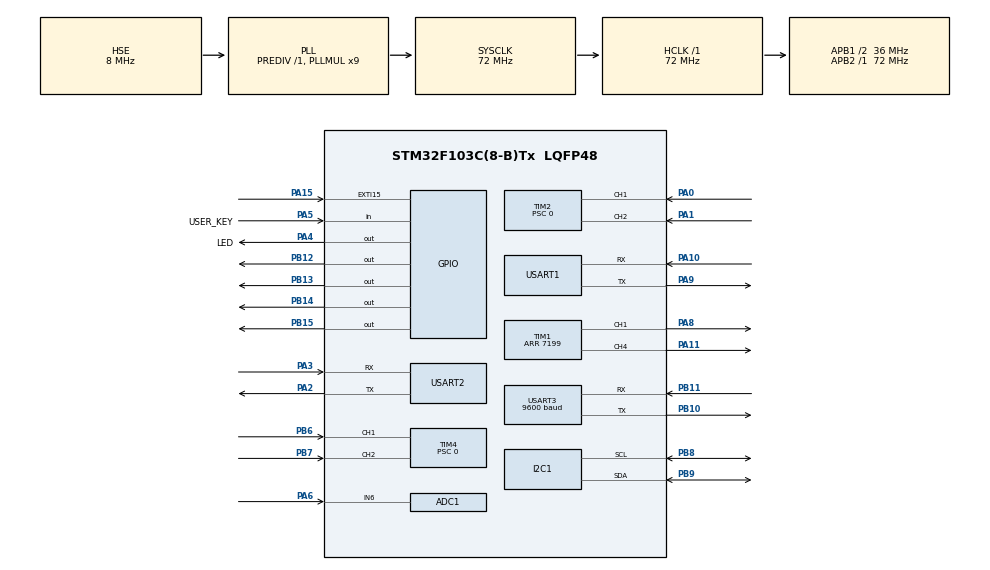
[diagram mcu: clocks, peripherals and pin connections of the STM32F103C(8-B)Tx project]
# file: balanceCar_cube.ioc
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ADC1.Channel-0\#ChannelRegularConversion=ADC_CHANNEL_6
ADC1.NbrOfConversionFlag=1
ADC1.Rank-0\#ChannelRegularConversion=1
ADC1.SamplingTime-0\#ChannelRegularConversion=ADC_SAMPLETIME_1CYCLE_5
ADC1.master=1
Dma.Request0=USART1_RX
Dma.Request1=USART1_TX
Dma.USART1_RX.0.Direction=DMA_PERIPH_TO_MEMORY
Dma.USART1_RX.0.Instance=DMA1_Channel5
Dma.USART1_RX.0.MemDataAlignment=DMA_MDATAALIGN_BYTE
Dma.USART1_RX.0.MemInc=DMA_MINC_ENABLE
Dma.USART1_RX.0.Mode=DMA_NORMAL
Dma.USART1_RX.0.PeriphDataAlignment=DMA_PDATAALIGN_BYTE
Dma.USART1_RX.0.PeriphInc=DMA_PINC_DISABLE
Dma.USART1_RX.0.Priority=DMA_PRIORITY_LOW
Dma.USART1_TX.1.Direction=DMA_MEMORY_TO_PERIPH
Dma.USART1_TX.1.Instance=DMA1_Channel4
Dma.USART1_TX.1.MemDataAlignment=DMA_MDATAALIGN_BYTE
Dma.USART1_TX.1.MemInc=DMA_MINC_ENABLE
Dma.USART1_TX.1.Mode=DMA_NORMAL
Dma.USART1_TX.1.PeriphDataAlignment=DMA_PDATAALIGN_BYTE
Dma.USART1_TX.1.PeriphInc=DMA_PINC_DISABLE
Dma.USART1_TX.1.Priority=DMA_PRIORITY_LOW
FREERTOS.Tasks01=defaultTask,0,128,StartDefaultTask,Default,NULL,Dynamic,NULL,NULL;nonblock,0,128,StartTask_nonblock,Default,NULL,Dynamic,NULL,NULL
Mcu.Family=STM32F1
Mcu.Name=STM32F103C(8-B)Tx
Mcu.Package=LQFP48
NVIC.DMA1_Channel4_IRQn=true\:5\:0\:false\:false\:true\:true\:false\:true
NVIC.DMA1_Channel5_IRQn=true\:5\:0\:false\:false\:true\:true\:false\:true
NVIC.PriorityGroup=NVIC_PRIORITYGROUP_4
NVIC.TIM1_UP_IRQn=true\:5\:0\:false\:false\:true\:true\:true\:true
NVIC.TIM3_IRQn=true\:0\:0\:false\:false\:true\:false\:false\:true
NVIC.TimeBase=TIM3_IRQn
NVIC.TimeBaseIP=TIM3
NVIC.USART1_IRQn=true\:5\:0\:false\:false\:true\:true\:true\:true
PA0-WKUP.Signal=S_TIM2_CH1_ETR
PA1.Signal=S_TIM2_CH2
PA10.Mode=Asynchronous
PA10.Signal=USART1_RX
PA11.Signal=S_TIM1_CH4
PA13.Mode=Serial_Wire
PA13.Signal=SYS_JTMS-SWDIO
PA14.Mode=Serial_Wire
PA14.Signal=SYS_JTCK-SWCLK
PA15.Signal=GPXTI15
PA2.Mode=Asynchronous
PA2.Signal=USART2_TX
PA3.Mode=Asynchronous
PA3.Signal=USART2_RX
PA4.GPIO_Label=LED
PA4.GPIO_PuPd=GPIO_PULLUP
PA4.PinState=GPIO_PIN_SET
PA4.Signal=GPIO_Output
PA5.GPIO_Label=USER_KEY
PA5.GPIO_PuPd=GPIO_PULLUP
PA5.Signal=GPIO_Input
PA6.Signal=ADCx_IN6
PA8.Signal=S_TIM1_CH1
PA9.Mode=Asynchronous
PA9.Signal=USART1_TX
PB10.Mode=Asynchronous
PB10.Signal=USART3_TX
PB11.Mode=Asynchronous
PB11.Signal=USART3_RX
PB12.Signal=GPIO_Output
PB13.Signal=GPIO_Output
PB14.Signal=GPIO_Output
PB15.Signal=GPIO_Output
PB6.Signal=S_TIM4_CH1
PB7.Signal=S_TIM4_CH2
PB8.GPIO_Pu=GPIO_PULLUP
PB8.Mode=I2C
PB8.Signal=I2C1_SCL
PB9.GPIO_Pu=GPIO_PULLUP
PB9.Mode=I2C
PB9.Signal=I2C1_SDA
PD0-OSC_IN.Mode=HSE-External-Oscillator
PD0-OSC_IN.Signal=RCC_OSC_IN
PD1-OSC_OUT.Mode=HSE-External-Oscillator
PD1-OSC_OUT.Signal=RCC_OSC_OUT
ProjectManager.HeapSize=0x200
ProjectManager.StackSize=0x400
ProjectManager.TargetToolchain=MDK-ARM V5.27
RCC.ADCPresc=RCC_ADCPCLK2_DIV6
RCC.AHBFreq_Value=72000000
RCC.APB1CLKDivider=RCC_HCLK_DIV2
RCC.APB1Freq_Value=36000000
RCC.APB1TimFreq_Value=72000000
RCC.APB2Freq_Value=72000000
RCC.APB2TimFreq_Value=72000000
RCC.HCLKFreq_Value=72000000
RCC.PLLMUL=RCC_PLL_MUL9
RCC.PLLSourceVirtual=RCC_PLLSOURCE_HSE
RCC.SYSCLKFreq_VALUE=72000000
RCC.SYSCLKSource=RCC_SYSCLKSOURCE_PLLCLK
RCC.USBFreq_Value=72000000
SH.ADCx_IN6.0=ADC1_IN6,IN6
SH.S_TIM1_CH1.0=TIM1_CH1,PWM Generation1 CH1
SH.S_TIM1_CH4.0=TIM1_CH4,PWM Generation4 CH4
SH.S_TIM2_CH1_ETR.0=TIM2_CH1,Encoder_Interface
SH.S_TIM2_CH2.0=TIM2_CH2,Encoder_Interface
SH.S_TIM4_CH1.0=TIM4_CH1,Encoder_Interface
SH.S_TIM4_CH2.0=TIM4_CH2,Encoder_Interface
TIM1.AutoReloadPreload=TIM_AUTORELOAD_PRELOAD_ENABLE
TIM1.Channel-PWM\ Generation1\ CH1=TIM_CHANNEL_1
TIM1.Channel-PWM\ Generation4\ CH4=TIM_CHANNEL_4
TIM1.Period=7199
TIM2.EncoderMode=TIM_ENCODERMODE_TI12
TIM2.Prescaler=0
TIM4.AutoReloadPreload=TIM_AUTORELOAD_PRELOAD_DISABLE
TIM4.CounterMode=TIM_COUNTERMODE_UP
TIM4.EncoderMode=TIM_ENCODERMODE_TI12
TIM4.IC1Filter=15
TIM4.IC2Filter=15
TIM4.Prescaler=0
USART1.VirtualMode=VM_ASYNC
USART2.VirtualMode=VM_ASYNC
USART3.BaudRate=9600
USART3.VirtualMode=VM_ASYNC
VP_FREERTOS_VS_CMSIS_V1.Mode=CMSIS_V1
VP_SYS_VS_tim3.Mode=TIM3
VP_TIM1_VS_ClockSourceINT.Mode=Internal
board=custom

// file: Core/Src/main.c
/* USER CODE BEGIN Header */
/**
  ******************************************************************************
  * @file           : main.c
  * @brief          : Main program body
  ******************************************************************************
  * @attention
  *
  * <h2><center>&copy; Copyright (c) 2021 STMicroelectronics.
  * All rights reserved.</center></h2>
  *
  * This software component is licensed by ST under BSD 3-Clause license,
  * the "License"; You may not use this file except in compliance with the
  * License. You may obtain a copy of the License at:
  *                        opensource.org/licenses/BSD-3-Clause
  *
  ******************************************************************************
  */
/* USER CODE END Header */
#include "main.h"
#include "cmsis_os.h"
#include "adc.h"
#include "dma.h"
#include "i2c.h"
#include "tim.h"
#include "usart.h"
#include "gpio.h"

/* USER CODE BEGIN Includes */
#include "libmotor.h"
#include "layerCompati_i2c.h"
/* USER CODE END Includes */

/* USER CODE BEGIN PD */
#define PI acos(-1)
#define IMU_FILTER_WAY 2
/* USER CODE END PD */

/* USER CODE BEGIN PV */
float Angle_Balance, Gyro_Balance, Gyro_Turn, Acceleration_Z;
uint8_t flag_stop = 1;
/* USER CODE END PV */

void SystemClock_Config(void);
void MX_FREERTOS_Init(void);

int main(void)
{

  /* MCU Configuration--------------------------------------------------------*/

  /* Reset of all peripherals, Initializes the Flash interface and the Systick. */
  HAL_Init();

  /* Configure the system clock */
  SystemClock_Config();

  /* Initialize all configured peripherals */
  MX_GPIO_Init();
  MX_I2C1_Init();
  MX_TIM2_Init();
  MX_TIM4_Init();
  MX_USART1_UART_Init();
  MX_USART2_UART_Init();
  MX_USART3_UART_Init();
  MX_ADC1_Init();
  MX_DMA_Init();
  MX_TIM1_Init();
  /* USER CODE BEGIN 2 */
	HAL_TIM_Encoder_Start(&htim2, TIM_CHANNEL_ALL);
	HAL_TIM_Encoder_Start(&htim4, TIM_CHANNEL_ALL);

	MPU6050_initialize();
	DMP_Init();

	HAL_TIM_PWM_Start(&htim1, TIM_CHANNEL_1);
	HAL_TIM_PWM_Start(&htim1, TIM_CHANNEL_4);

	HAL_TIM_Base_Start_IT(&htim1);

  /* USER CODE END 2 */

  /* Call init function for freertos objects (in freertos.c) */
  MX_FREERTOS_Init();
  /* Start scheduler */
  osKernelStart();

  /* We should never get here as control is now taken by the scheduler */
  /* Infinite loop */
  while (1)
  {

  }
}

void SystemClock_Config(void)
{
  RCC_OscInitTypeDef RCC_OscInitStruct = {0};
  RCC_ClkInitTypeDef RCC_ClkInitStruct = {0};
  RCC_PeriphCLKInitTypeDef PeriphClkInit = {0};

  /** Initializes the RCC Oscillators according to the specified parameters
  * in the RCC_OscInitTypeDef structure.
  */
  RCC_OscInitStruct.OscillatorType = RCC_OSCILLATORTYPE_HSE;
  RCC_OscInitStruct.HSEState = RCC_HSE_ON;
  RCC_OscInitStruct.HSEPredivValue = RCC_HSE_PREDIV_DIV1;
  RCC_OscInitStruct.HSIState = RCC_HSI_ON;
  RCC_OscInitStruct.PLL.PLLState = RCC_PLL_ON;
  RCC_OscInitStruct.PLL.PLLSource = RCC_PLLSOURCE_HSE;
  RCC_OscInitStruct.PLL.PLLMUL = RCC_PLL_MUL9;
  if (HAL_RCC_OscConfig(&RCC_OscInitStruct) != HAL_OK)
  {
    Error_Handler();
  }
  /** Initializes the CPU, AHB and APB buses clocks
  */
  RCC_ClkInitStruct.ClockType = RCC_CLOCKTYPE_HCLK|RCC_CLOCKTYPE_SYSCLK
                              |RCC_CLOCKTYPE_PCLK1|RCC_CLOCKTYPE_PCLK2;
  RCC_ClkInitStruct.SYSCLKSource = RCC_SYSCLKSOURCE_PLLCLK;
  RCC_ClkInitStruct.AHBCLKDivider = RCC_SYSCLK_DIV1;
  RCC_ClkInitStruct.APB1CLKDivider = RCC_HCLK_DIV2;
  RCC_ClkInitStruct.APB2CLKDivider = RCC_HCLK_DIV1;

  if (HAL_RCC_ClockConfig(&RCC_ClkInitStruct, FLASH_LATENCY_2) != HAL_OK)
  {
    Error_Handler();
  }
  PeriphClkInit.PeriphClockSelection = RCC_PERIPHCLK_ADC;
  PeriphClkInit.AdcClockSelection = RCC_ADCPCLK2_DIV6;
  if (HAL_RCCEx_PeriphCLKConfig(&PeriphClkInit) != HAL_OK)
  {
    Error_Handler();
  }
}

/* USER CODE BEGIN 4 */
int32_t Balance_Pwm, Moto1, Moto2;
int32_t Encoder_Left, Encoder_Right;

int Read_Encoder(uint8_t timx)
{
  int Encoder_TIM;
  switch (timx)
  {
  case 2:
    Encoder_TIM = (short)TIM2->CNT;
    TIM2->CNT = 0;
    break;
  case 4:
    Encoder_TIM = (short)TIM4->CNT;
    TIM4->CNT = 0;
    break;
  default:
    Encoder_TIM = 0;
  }
  return Encoder_TIM;
}

void Get_Angle(void)
{
  float Accel_Y, Accel_Angle, Accel_Z, Gyro_X, Gyro_Z;
  // Temperature = Read_Temperature(); //===读取MPU6050内置温度传感器数据，近似表示主板温度
  if (IMU_FILTER_WAY == 1) //===DMP的读取在数据采集中断读取，严格遵循时序要
  {
    Read_DMP();                //===读取加�?�度、角速度、�?�角
    Angle_Balance = -Roll;     //===更新平衡倾角
    Gyro_Balance = -gyro[0];   //===更新平衡角�?�度
    Gyro_Turn = gyro[2];       //===更新转向角�?�度
    Acceleration_Z = accel[2]; //===更新Z轴加速度�???
  }
  else
  {
    Gyro_X = (I2C_ReadOneByte(devAddr, MPU6050_RA_GYRO_XOUT_H) << 8) + I2C_ReadOneByte(devAddr, MPU6050_RA_GYRO_XOUT_L);    //读取Y轴陀螺仪
    Gyro_Z = (I2C_ReadOneByte(devAddr, MPU6050_RA_GYRO_ZOUT_H) << 8) + I2C_ReadOneByte(devAddr, MPU6050_RA_GYRO_ZOUT_L);    //读取Z轴陀螺仪
    Accel_Y = (I2C_ReadOneByte(devAddr, MPU6050_RA_ACCEL_YOUT_H) << 8) + I2C_ReadOneByte(devAddr, MPU6050_RA_ACCEL_YOUT_L); //读取X轴加速度�???
    Accel_Z = (I2C_ReadOneByte(devAddr, MPU6050_RA_ACCEL_ZOUT_H) << 8) + I2C_ReadOneByte(devAddr, MPU6050_RA_ACCEL_ZOUT_L); //读取Z轴加速度�???
    if (Gyro_X > 32768)
      Gyro_X -= 65536; //数据类型转换  也可通过short强制类型转换
    if (Gyro_Z > 32768)
      Gyro_Z -= 65536; //数据类型转换
    if (Accel_Y > 32768)
      Accel_Y -= 65536; //数据类型转换
    if (Accel_Z > 32768)
      Accel_Z -= 65536; //数据类型转换
    Gyro_Balance = Gyro_X;
    Accel_Angle = atan2(Accel_Y, Accel_Z) * 180 / PI; //计算倾角
    Gyro_X = Gyro_X / 16.4;                           //量程转换
    if (IMU_FILTER_WAY == 2)
      Kalman_Filter(Accel_Angle, Gyro_X);
    else if (IMU_FILTER_WAY == 3)
      Yijielvbo(Accel_Angle, Gyro_X); //互补滤波
    Angle_Balance = angle;            //更新平衡倾角
    Gyro_Turn = Gyro_Z;
    Acceleration_Z = Accel_Z;
  }
}

/* USER CODE END 4 */

void HAL_TIM_PeriodElapsedCallback(TIM_HandleTypeDef *htim)
{
  /* USER CODE BEGIN Callback 0 */
  static uint16_t div_cnt;
  /* USER CODE END Callback 0 */
  if (htim->Instance == TIM3) {
    HAL_IncTick();
  }
  /* USER CODE BEGIN Callback 1 */
	else if(htim->Instance == TIM1){
    if(++div_cnt > 25){

      div_cnt = 0;
      Encoder_Left = Read_Encoder(2);
      Encoder_Right = Read_Encoder(4);
      Get_Angle();
      Balance_Pwm = pid_Balance_Velocity(Angle_Balance, Gyro_Balance, Encoder_Left, Encoder_Right);

      // Turn_Pwm = turn(Encoder_Left, Encoder_Right, Gyro_Turn);
      Moto1 = Balance_Pwm;
      Moto2 = Balance_Pwm;
      // Xianfu_Pwm();
      if(flag_stop == 0){
        set_Pwm(Moto1, Moto2);
      }else
      {
        HAL_GPIO_WritePin(GPIOB, GPIO_PIN_14, GPIO_PIN_RESET);   //AIN1
        HAL_GPIO_WritePin(GPIOB, GPIO_PIN_15, GPIO_PIN_RESET); //AIN2
        HAL_GPIO_WritePin(GPIOB, GPIO_PIN_12, GPIO_PIN_RESET); //BIN2
        HAL_GPIO_WritePin(GPIOB, GPIO_PIN_13, GPIO_PIN_RESET);   //BIN1

      }

    }
	}
  /* USER CODE END Callback 1 */
}

void Error_Handler(void)
{
  __disable_irq();
  while (1)
  {
  }
}

/************************ (C) COPYRIGHT STMicroelectronics *****END OF FILE****/

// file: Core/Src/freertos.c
/* USER CODE BEGIN Header */
/**
  ******************************************************************************
  * File Name          : freertos.c
  * Description        : Code for freertos applications
  ******************************************************************************
  * @attention
  *
  * <h2><center>&copy; Copyright (c) 2021 STMicroelectronics.
  * All rights reserved.</center></h2>
  *
  * This software component is licensed by ST under Ultimate Liberty license
  * SLA0044, the "License"; You may not use this file except in compliance with
  * the License. You may obtain a copy of the License at:
  *                             www.st.com/SLA0044
  *
  ******************************************************************************
  */
/* USER CODE END Header */

#include "FreeRTOS.h"
#include "task.h"
#include "main.h"
#include "cmsis_os.h"

/* USER CODE BEGIN Includes */
#include "adc.h"
/* USER CODE END Includes */

/* USER CODE BEGIN Variables */
uint16_t test_16;
uint16_t battery_adc;
int16_t battery_volt;

int Temperature;
/* USER CODE END Variables */
osThreadId defaultTaskHandle;
osThreadId nonblockHandle;

/* USER CODE BEGIN FunctionPrototypes */
void Get_Angle(void);
int Read_Encoder(uint8_t timx);
/* USER CODE END FunctionPrototypes */

void StartDefaultTask(void const * argument);
void StartTask_nonblock(void const * argument);

void MX_FREERTOS_Init(void); /* (MISRA C 2004 rule 8.1) */

/* GetIdleTaskMemory prototype (linked to static allocation support) */
void vApplicationGetIdleTaskMemory( StaticTask_t **ppxIdleTaskTCBBuffer, StackType_t **ppxIdleTaskStackBuffer, uint32_t *pulIdleTaskStackSize );

/* USER CODE BEGIN GET_IDLE_TASK_MEMORY */
static StaticTask_t xIdleTaskTCBBuffer;
static StackType_t xIdleStack[configMINIMAL_STACK_SIZE];

void vApplicationGetIdleTaskMemory(StaticTask_t **ppxIdleTaskTCBBuffer, StackType_t **ppxIdleTaskStackBuffer, uint32_t *pulIdleTaskStackSize)
{
  *ppxIdleTaskTCBBuffer = &xIdleTaskTCBBuffer;
  *ppxIdleTaskStackBuffer = &xIdleStack[0];
  *pulIdleTaskStackSize = configMINIMAL_STACK_SIZE;
  /* place for user code */
}
/* USER CODE END GET_IDLE_TASK_MEMORY */

void MX_FREERTOS_Init(void) {

  /* Create the thread(s) */
  /* definition and creation of defaultTask */
  osThreadDef(defaultTask, StartDefaultTask, osPriorityNormal, 0, 128);
  defaultTaskHandle = osThreadCreate(osThread(defaultTask), NULL);

  /* definition and creation of nonblock */
  osThreadDef(nonblock, StartTask_nonblock, osPriorityNormal, 0, 128);
  nonblockHandle = osThreadCreate(osThread(nonblock), NULL);

}

void StartDefaultTask(void const * argument)
{
  /* USER CODE BEGIN StartDefaultTask */
  /* Infinite loop */
  for (;;)
  {
    HAL_ADC_Start(&hadc1);
    HAL_ADC_PollForConversion(&hadc1, 10); //10ms overtime
    if (HAL_IS_BIT_SET(HAL_ADC_GetState(&hadc1), HAL_ADC_STATE_REG_EOC))
    {
      battery_adc = HAL_ADC_GetValue(&hadc1);
      battery_volt = battery_adc * 3.3 * 11 * 100 / 4096;
    }

    if (Angle_Balance < -30 || Angle_Balance > 30)
		{
			flag_stop = 1;
		}

    HAL_GPIO_TogglePin(LED_GPIO_Port, LED_Pin);
    osDelay(800);
  }
  /* USER CODE END StartDefaultTask */
}

void StartTask_nonblock(void const * argument)
{
  /* USER CODE BEGIN StartTask_nonblock */
  uint8_t cnt_mistakenly_touching = 0;
  uint8_t last_read_userKey = 1;

  /* Infinite loop */
  for (;;)
  {

    if (HAL_GPIO_ReadPin(USER_KEY_GPIO_Port, USER_KEY_Pin) == GPIO_PIN_RESET)
    {
      if(cnt_mistakenly_touching < 0xff){
        cnt_mistakenly_touching++;
      }
			last_read_userKey = GPIO_PIN_RESET;
    }else
    {
      if(last_read_userKey == GPIO_PIN_RESET){
        if(cnt_mistakenly_touching >= 2)
        {
          flag_stop = flag_stop == 0  ? 1 : 0;
          cnt_mistakenly_touching = 0;
        }
      }
      last_read_userKey = GPIO_PIN_SET;
    }

    osDelay(25);
  }
  /* USER CODE END StartTask_nonblock */
}

/************************ (C) COPYRIGHT STMicroelectronics *****END OF FILE****/
